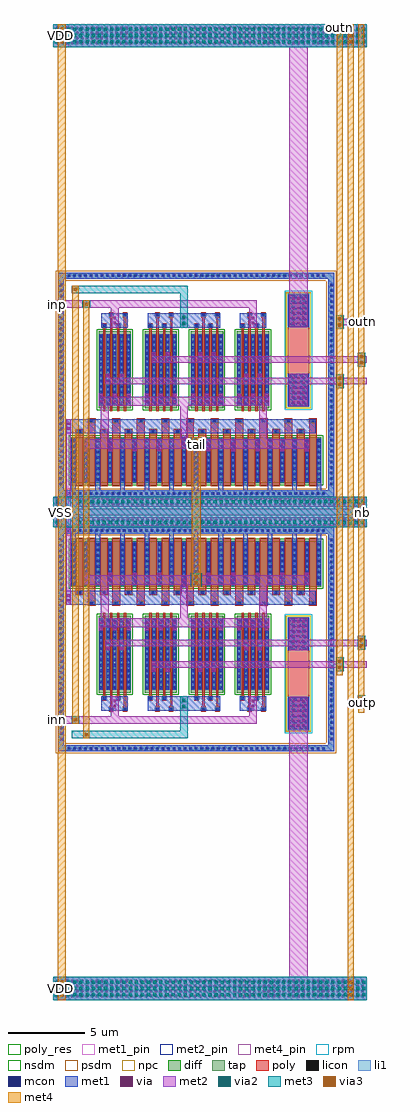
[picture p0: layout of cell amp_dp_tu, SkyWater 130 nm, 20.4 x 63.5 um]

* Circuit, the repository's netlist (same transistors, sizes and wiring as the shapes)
* amp_dp_tu: amp_dp_t with taps edge
* amp_dp_t: xschem/amp_dp.sch with {'w': 80, 'l': 0.15, 'rl': 1000.0, 'wt': 6, 'mt': 20, 'mm': 0} (lay.write_ref)
** sch_path: /foss/designs/ook-asic-radio-tall-stages/xschem/amp_dp.sch
.subckt amp_dp_tu inp inn nb outp outn VDD VSS
*.PININFO VDD:B VSS:B nb:B inp:B inn:B outp:B outn:B
XRl_p outn VDD VSS sky130_fd_pr__res_high_po_1p41 L=3.13504 mult=1
XMp outn inp tail VSS sky130_fd_pr__nfet_01v8 L=0.15 W=80 nf=4
XRl_n outp VDD VSS sky130_fd_pr__res_high_po_1p41 L=3.13504 mult=1
XMn outp inn tail VSS sky130_fd_pr__nfet_01v8 L=0.15 W=80 nf=4
XMtail tail nb VSS VSS sky130_fd_pr__nfet_01v8 L=0.5 W=6 nf=2 m=20
.ends

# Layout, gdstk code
import gdstk
lib = gdstk.Library(unit=1e-6, precision=1e-09)
def R(c, l, rs):  # rectangles x0, y0, x1, y1
    for r in rs: c.add(gdstk.rectangle(r[:2], r[2:], *l))
def A(c, l, x, y, w, h, nx, ny, dx, dy):  # array of equal rectangles
    R(c, l, [(x+i*dx, y+j*dy, x+i*dx+w, y+j*dy+h) for i in range(nx) for j in range(ny)])
def P(c, l, *ps):  # polygons
    for p in ps: c.add(gdstk.Polygon(p, *l))
diff = (65, 20)
tap = (65, 44)
poly_res = (66, 13)
poly = (66, 20)
licon = (66, 44)
li1 = (67, 20)
mcon = (67, 44)
met1_pin = (68, 16)
met1 = (68, 20)
via = (68, 44)
met2_pin = (69, 16)
met2 = (69, 20)
via2 = (69, 44)
met3 = (70, 20)
via3 = (70, 44)
met4_pin = (71, 16)
met4 = (71, 20)
rpm = (86, 20)
nsdm = (93, 44)
psdm = (94, 20)
npc = (95, 20)

amp_dp_tu = lib.new_cell('amp_dp_tu')
A(amp_dp_tu, diff, 2.95, 20, 2.1, 5, 4, 2, 3, 18.5)
R(amp_dp_tu, diff, [(1.15,26.88,17.45,29.88), (1.15,33.62,17.45,36.62)])
P(amp_dp_tu, tap, [(0.3,32.75),(0.3,46.93),(0.7,46.93),(0.7,33.15),(17.9,33.15),(17.9,46.93),(0.3,46.93),(0.3,47.33),(18.3,47.33),(18.3,32.75)],
  [(0.3,16.17),(0.3,30.35),(0.7,30.35),(0.7,16.57),(17.9,16.57),(17.9,30.35),(0.3,30.35),(0.3,30.75),(18.3,30.75),(18.3,16.17)])
R(amp_dp_tu, poly_res, [(15.25,19.665,16.66,22.805), (15.25,40.695,16.66,43.835)])
A(amp_dp_tu, poly, 2.25, 25.65, 0.5, 0.33, 10, 2, 1.6, 11.87)
A(amp_dp_tu, poly, 2.25, 25.98, 0.5, 4.1, 10, 2, 1.6, 7.44)
A(amp_dp_tu, poly, 1.45, 26.35, 0.5, 0.33, 10, 2, 1.6, 10.47)
A(amp_dp_tu, poly, 1.45, 26.68, 0.5, 3.4, 10, 2, 1.6, 6.74)
R(amp_dp_tu, poly, [(15.25,17.565,16.66,24.905), (3.64,18.77,3.91,19.1), (4.54,18.77,4.81,19.1), (6.64,18.77,6.91,19.1), (7.54,18.77,7.81,19.1), (9.64,18.77,9.91,19.1), (10.54,18.77,10.81,19.1), (12.64,18.77,12.91,19.1), (13.54,18.77,13.81,19.1), (3.7,19.1,3.85,25.2), (4.6,19.1,4.75,25.2), (6.7,19.1,6.85,25.2), (7.6,19.1,7.75,25.2), (9.7,19.1,9.85,25.2), (10.6,19.1,10.75,25.2), (12.7,19.1,12.85,25.2), (13.6,19.1,13.75,25.2), (3.19,19.47,3.46,19.8), (4.09,19.47,4.36,19.8), (6.19,19.47,6.46,19.8), (7.09,19.47,7.36,19.8), (9.19,19.47,9.46,19.8), (10.09,19.47,10.36,19.8), (12.19,19.47,12.46,19.8), (13.09,19.47,13.36,19.8), (3.25,19.8,3.4,25.2), (4.15,19.8,4.3,25.2), (6.25,19.8,6.4,25.2), (7.15,19.8,7.3,25.2), (9.25,19.8,9.4,25.2), (10.15,19.8,10.3,25.2), (12.25,19.8,12.4,25.2), (13.15,19.8,13.3,25.2), (3.25,38.3,3.4,43.7), (3.7,38.3,3.85,44.4), (4.15,38.3,4.3,43.7), (4.6,38.3,4.75,44.4), (6.25,38.3,6.4,43.7), (6.7,38.3,6.85,44.4), (7.15,38.3,7.3,43.7), (7.6,38.3,7.75,44.4), (9.25,38.3,9.4,43.7), (9.7,38.3,9.85,44.4), (10.15,38.3,10.3,43.7), (10.6,38.3,10.75,44.4), (12.25,38.3,12.4,43.7), (12.7,38.3,12.85,44.4), (13.15,38.3,13.3,43.7), (13.6,38.3,13.75,44.4), (15.25,38.595,16.66,45.935), (3.19,43.7,3.46,44.03), (4.09,43.7,4.36,44.03), (6.19,43.7,6.46,44.03), (7.09,43.7,7.36,44.03), (9.19,43.7,9.46,44.03), (10.09,43.7,10.36,44.03), (12.19,43.7,12.46,44.03), (13.09,43.7,13.36,44.03), (3.64,44.4,3.91,44.73), (4.54,44.4,4.81,44.73), (6.64,44.4,6.91,44.73), (7.54,44.4,7.81,44.73), (9.64,44.4,9.91,44.73), (10.54,44.4,10.81,44.73), (12.64,44.4,12.91,44.73), (13.54,44.4,13.81,44.73)])
A(amp_dp_tu, licon, 0.935, 16.285, 0.17, 0.17, 47, 2, 0.36, 14.18)
A(amp_dp_tu, licon, 0.415, 16.895, 0.17, 0.17, 1, 37, 0, 0.36)
A(amp_dp_tu, licon, 18.015, 16.895, 0.17, 0.17, 1, 37, 0, 0.36)
A(amp_dp_tu, licon, 3.015, 20.255, 0.17, 0.17, 5, 13, 0.45, 0.36)
A(amp_dp_tu, licon, 6.015, 20.255, 0.17, 0.17, 5, 13, 0.45, 0.36)
A(amp_dp_tu, licon, 9.015, 20.255, 0.17, 0.17, 5, 13, 0.45, 0.36)
A(amp_dp_tu, licon, 12.015, 20.255, 0.17, 0.17, 5, 13, 0.45, 0.36)
A(amp_dp_tu, licon, 2.415, 25.73, 0.17, 0.17, 10, 2, 1.6, 11.87)
A(amp_dp_tu, licon, 1.615, 26.43, 0.17, 0.17, 10, 2, 1.6, 10.47)
A(amp_dp_tu, licon, 1.215, 27.035, 0.17, 0.17, 21, 8, 0.8, 0.36)
A(amp_dp_tu, licon, 0.935, 32.865, 0.17, 0.17, 47, 2, 0.36, 14.18)
A(amp_dp_tu, licon, 0.415, 33.475, 0.17, 0.17, 1, 37, 0, 0.36)
A(amp_dp_tu, licon, 18.015, 33.475, 0.17, 0.17, 1, 37, 0, 0.36)
A(amp_dp_tu, licon, 1.215, 33.775, 0.17, 0.17, 21, 8, 0.8, 0.36)
A(amp_dp_tu, licon, 3.015, 38.755, 0.17, 0.17, 5, 13, 0.45, 0.36)
A(amp_dp_tu, licon, 6.015, 38.755, 0.17, 0.17, 5, 13, 0.45, 0.36)
A(amp_dp_tu, licon, 9.015, 38.755, 0.17, 0.17, 5, 13, 0.45, 0.36)
A(amp_dp_tu, licon, 12.015, 38.755, 0.17, 0.17, 5, 13, 0.45, 0.36)
R(amp_dp_tu, licon, [(15.505,17.645,15.695,19.645), (16.215,17.645,16.405,19.645), (3.69,18.85,3.86,19.02), (4.59,18.85,4.76,19.02), (6.69,18.85,6.86,19.02), (7.59,18.85,7.76,19.02), (9.69,18.85,9.86,19.02), (10.59,18.85,10.76,19.02), (12.69,18.85,12.86,19.02), (13.59,18.85,13.76,19.02), (3.24,19.55,3.41,19.72), (4.14,19.55,4.31,19.72), (6.24,19.55,6.41,19.72), (7.14,19.55,7.31,19.72), (9.24,19.55,9.41,19.72), (10.14,19.55,10.31,19.72), (12.24,19.55,12.41,19.72), (13.14,19.55,13.31,19.72), (15.505,22.825,15.695,24.825), (16.215,22.825,16.405,24.825), (15.505,38.675,15.695,40.675), (16.215,38.675,16.405,40.675), (3.24,43.78,3.41,43.95), (4.14,43.78,4.31,43.95), (6.24,43.78,6.41,43.95), (7.14,43.78,7.31,43.95), (9.24,43.78,9.41,43.95), (10.14,43.78,10.31,43.95), (12.24,43.78,12.41,43.95), (13.14,43.78,13.31,43.95), (15.505,43.855,15.695,45.855), (16.215,43.855,16.405,45.855), (3.69,44.48,3.86,44.65), (4.59,44.48,4.76,44.65), (6.69,44.48,6.86,44.65), (7.59,44.48,7.76,44.65), (9.69,44.48,9.86,44.65), (10.59,44.48,10.76,44.65), (12.69,44.48,12.86,44.65), (13.59,44.48,13.76,44.65)])
A(amp_dp_tu, li1, 3.015, 20.175, 0.17, 4.65, 5, 2, 0.45, 18.5)
A(amp_dp_tu, li1, 6.015, 20.175, 0.17, 4.65, 5, 2, 0.45, 18.5)
A(amp_dp_tu, li1, 9.015, 20.175, 0.17, 4.65, 5, 2, 0.45, 18.5)
A(amp_dp_tu, li1, 12.015, 20.175, 0.17, 4.65, 5, 2, 0.45, 18.5)
A(amp_dp_tu, li1, 2.335, 25.73, 0.33, 0.17, 10, 2, 1.6, 11.87)
A(amp_dp_tu, li1, 1.535, 26.43, 0.33, 0.17, 10, 2, 1.6, 10.47)
A(amp_dp_tu, li1, 1.215, 26.955, 0.17, 2.85, 21, 2, 0.8, 6.74)
R(amp_dp_tu, li1, [(15.25,17.565,16.66,19.725), (3.61,18.85,3.94,19.02), (4.51,18.85,4.84,19.02), (6.61,18.85,6.94,19.02), (7.51,18.85,7.84,19.02), (9.61,18.85,9.94,19.02), (10.51,18.85,10.84,19.02), (12.61,18.85,12.94,19.02), (13.51,18.85,13.84,19.02), (3.16,19.55,3.49,19.72), (4.06,19.55,4.39,19.72), (6.16,19.55,6.49,19.72), (7.06,19.55,7.39,19.72), (9.16,19.55,9.49,19.72), (10.06,19.55,10.39,19.72), (12.16,19.55,12.49,19.72), (13.06,19.55,13.39,19.72), (15.25,22.745,16.66,24.905), (15.25,38.595,16.66,40.755), (15.25,43.775,16.66,45.935), (3.16,43.78,3.49,43.95), (4.06,43.78,4.39,43.95), (6.16,43.78,6.49,43.95), (7.06,43.78,7.39,43.95), (9.16,43.78,9.49,43.95), (10.06,43.78,10.39,43.95), (12.16,43.78,12.49,43.95), (13.06,43.78,13.39,43.95), (3.61,44.48,3.94,44.65), (4.51,44.48,4.84,44.65), (6.61,44.48,6.94,44.65), (7.51,44.48,7.84,44.65), (9.61,44.48,9.94,44.65), (10.51,44.48,10.84,44.65), (12.61,44.48,12.94,44.65), (13.51,44.48,13.84,44.65)])
P(amp_dp_tu, li1, [(0.3,32.75),(0.3,46.93),(0.7,46.93),(0.7,33.15),(17.9,33.15),(17.9,46.93),(0.3,46.93),(0.3,47.33),(18.3,47.33),(18.3,32.75)],
  [(0.3,16.17),(0.3,30.35),(0.7,30.35),(0.7,16.57),(17.9,16.57),(17.9,30.35),(0.3,30.35),(0.3,30.75),(18.3,30.75),(18.3,16.17)])
A(amp_dp_tu, mcon, 0.935, 16.285, 0.17, 0.17, 47, 2, 0.36, 14.18)
A(amp_dp_tu, mcon, 0.415, 16.895, 0.17, 0.17, 1, 37, 0, 0.36)
A(amp_dp_tu, mcon, 18.015, 16.895, 0.17, 0.17, 1, 37, 0, 0.36)
A(amp_dp_tu, mcon, 15.33, 17.66, 0.17, 0.17, 4, 6, 0.36, 0.36)
A(amp_dp_tu, mcon, 3.015, 20.255, 0.17, 0.17, 5, 13, 0.45, 0.36)
A(amp_dp_tu, mcon, 6.015, 20.255, 0.17, 0.17, 5, 13, 0.45, 0.36)
A(amp_dp_tu, mcon, 9.015, 20.255, 0.17, 0.17, 5, 13, 0.45, 0.36)
A(amp_dp_tu, mcon, 12.015, 20.255, 0.17, 0.17, 5, 13, 0.45, 0.36)
A(amp_dp_tu, mcon, 15.33, 22.835, 0.17, 0.17, 4, 6, 0.36, 0.36)
A(amp_dp_tu, mcon, 2.415, 25.73, 0.17, 0.17, 10, 2, 1.6, 11.87)
A(amp_dp_tu, mcon, 1.615, 26.43, 0.17, 0.17, 10, 2, 1.6, 10.47)
A(amp_dp_tu, mcon, 1.215, 27.035, 0.17, 0.17, 21, 8, 0.8, 0.36)
A(amp_dp_tu, mcon, 0.935, 32.865, 0.17, 0.17, 47, 2, 0.36, 14.18)
A(amp_dp_tu, mcon, 0.415, 33.475, 0.17, 0.17, 1, 37, 0, 0.36)
A(amp_dp_tu, mcon, 18.015, 33.475, 0.17, 0.17, 1, 37, 0, 0.36)
A(amp_dp_tu, mcon, 1.215, 33.775, 0.17, 0.17, 21, 8, 0.8, 0.36)
A(amp_dp_tu, mcon, 15.33, 38.695, 0.17, 0.17, 4, 6, 0.36, 0.36)
A(amp_dp_tu, mcon, 3.015, 38.755, 0.17, 0.17, 5, 13, 0.45, 0.36)
A(amp_dp_tu, mcon, 6.015, 38.755, 0.17, 0.17, 5, 13, 0.45, 0.36)
A(amp_dp_tu, mcon, 9.015, 38.755, 0.17, 0.17, 5, 13, 0.45, 0.36)
A(amp_dp_tu, mcon, 12.015, 38.755, 0.17, 0.17, 5, 13, 0.45, 0.36)
A(amp_dp_tu, mcon, 15.33, 43.87, 0.17, 0.17, 4, 6, 0.36, 0.36)
R(amp_dp_tu, mcon, [(3.69,18.85,3.86,19.02), (4.59,18.85,4.76,19.02), (6.69,18.85,6.86,19.02), (7.59,18.85,7.76,19.02), (9.69,18.85,9.86,19.02), (10.59,18.85,10.76,19.02), (12.69,18.85,12.86,19.02), (13.59,18.85,13.76,19.02), (3.24,19.55,3.41,19.72), (4.14,19.55,4.31,19.72), (6.24,19.55,6.41,19.72), (7.14,19.55,7.31,19.72), (9.24,19.55,9.41,19.72), (10.14,19.55,10.31,19.72), (12.24,19.55,12.41,19.72), (13.14,19.55,13.31,19.72), (3.24,43.78,3.41,43.95), (4.14,43.78,4.31,43.95), (6.24,43.78,6.41,43.95), (7.14,43.78,7.31,43.95), (9.24,43.78,9.41,43.95), (10.14,43.78,10.31,43.95), (12.24,43.78,12.41,43.95), (13.14,43.78,13.31,43.95), (3.69,44.48,3.86,44.65), (4.59,44.48,4.76,44.65), (6.69,44.48,6.86,44.65), (7.59,44.48,7.76,44.65), (9.69,44.48,9.86,44.65), (10.59,44.48,10.76,44.65), (12.69,44.48,12.86,44.65), (13.59,44.48,13.76,44.65)])
R(amp_dp_tu, met1_pin, [(0,0,1,1.5), (0,30.75,1,32.75), (0,62,1,63.5)])
A(amp_dp_tu, met1, 3.59, 18.82, 0.37, 0.23, 4, 2, 3, 25.63)
A(amp_dp_tu, met1, 4.49, 18.82, 0.365, 0.23, 4, 2, 3, 25.63)
A(amp_dp_tu, met1, 3.14, 19.52, 0.37, 0.23, 4, 2, 3, 24.23)
A(amp_dp_tu, met1, 4.04, 19.52, 0.365, 0.23, 4, 2, 3, 24.23)
A(amp_dp_tu, met1, 2.985, 20.195, 0.23, 4.61, 5, 2, 0.45, 18.5)
A(amp_dp_tu, met1, 5.985, 20.195, 0.23, 4.61, 5, 2, 0.45, 18.5)
A(amp_dp_tu, met1, 8.985, 20.195, 0.23, 4.61, 5, 2, 0.45, 18.5)
A(amp_dp_tu, met1, 11.985, 20.195, 0.23, 4.61, 5, 2, 0.45, 18.5)
A(amp_dp_tu, met1, 2.97, 24.07, 0.26, 0.64, 3, 2, 0.9, 14.72)
A(amp_dp_tu, met1, 5.97, 24.07, 0.26, 0.64, 3, 2, 0.9, 14.72)
A(amp_dp_tu, met1, 8.97, 24.07, 0.26, 0.64, 3, 2, 0.9, 14.72)
A(amp_dp_tu, met1, 11.97, 24.07, 0.26, 0.64, 3, 2, 0.9, 14.72)
A(amp_dp_tu, met1, 2.95, 24.25, 0.3, 0.6, 3, 2, 0.9, 14.4)
A(amp_dp_tu, met1, 5.95, 24.25, 0.3, 0.6, 3, 2, 0.9, 14.4)
A(amp_dp_tu, met1, 8.95, 24.25, 0.3, 0.6, 3, 2, 0.9, 14.4)
A(amp_dp_tu, met1, 11.95, 24.25, 0.3, 0.6, 3, 2, 0.9, 14.4)
A(amp_dp_tu, met1, 2.315, 25.7, 0.37, 0.23, 10, 2, 1.6, 11.87)
A(amp_dp_tu, met1, 1.515, 26.4, 0.37, 0.23, 10, 2, 1.6, 10.47)
A(amp_dp_tu, met1, 1.15, 26.975, 0.3, 3.385, 11, 2, 1.6, 6.165)
A(amp_dp_tu, met1, 1.185, 26.975, 0.23, 2.81, 21, 2, 0.8, 6.74)
A(amp_dp_tu, met1, 1.95, 27.03, 0.3, 0.6, 10, 2, 1.6, 8.84)
A(amp_dp_tu, met1, 1.97, 27.17, 0.26, 0.64, 4, 2, 1.6, 8.52)
A(amp_dp_tu, met1, 9.97, 27.17, 0.26, 0.64, 5, 2, 1.6, 8.52)
R(amp_dp_tu, met1, [(0,0,20.4,1.5), (15.3,17.6,16.61,19.7), (15.355,17.6,16.555,19.7), (3.14,18.82,4.855,19.75), (6.14,18.82,10.855,19.75), (12.14,18.82,13.855,19.75), (6.42,21.36,6.68,22), (7.32,21.36,7.58,22), (9.42,21.36,9.68,22), (10.32,21.36,10.58,22), (6.4,21.63,6.7,22.05), (7.3,21.63,7.6,22.05), (9.4,21.63,9.7,22.05), (10.3,21.63,10.6,22.05), (3.42,22.76,3.68,23.4), (4.32,22.76,4.58,23.4), (12.42,22.76,12.68,23.4), (13.32,22.76,13.58,23.4), (15.3,22.77,16.61,24.87), (15.355,22.77,16.555,24.87), (3.4,23.03,3.7,23.45), (4.3,23.03,4.6,23.45), (12.4,23.03,12.7,23.45), (13.3,23.03,13.6,23.45), (0.85,25.7,17.085,26.63), (8.37,26.85,8.63,27.49), (0,30.75,20.4,32.75), (8.37,36.01,8.63,36.65), (0.85,36.87,17.085,37.8), (15.3,38.63,16.61,40.73), (15.355,38.63,16.555,40.73), (3.4,40.05,3.7,40.47), (4.3,40.05,4.6,40.47), (12.4,40.05,12.7,40.47), (13.3,40.05,13.6,40.47), (3.42,40.1,3.68,40.74), (4.32,40.1,4.58,40.74), (12.42,40.1,12.68,40.74), (13.32,40.1,13.58,40.74), (6.4,41.45,6.7,41.87), (7.3,41.45,7.6,41.87), (9.4,41.45,9.7,41.87), (10.3,41.45,10.6,41.87), (6.42,41.5,6.68,42.14), (7.32,41.5,7.58,42.14), (9.42,41.5,9.68,42.14), (10.32,41.5,10.58,42.14), (3.14,43.75,4.855,44.68), (6.14,43.75,10.855,44.68), (12.14,43.75,13.855,44.68), (15.3,43.8,16.61,45.9), (15.355,43.8,16.555,45.9), (0,62,20.4,63.5)])
P(amp_dp_tu, met1, [(0.3,32.75),(0.3,46.93),(0.7,46.93),(0.7,33.15),(17.9,33.15),(17.9,46.93),(0.3,46.93),(0.3,47.33),(18.3,47.33),(18.3,32.75)],
  [(0.3,16.17),(0.3,30.35),(0.7,30.35),(0.7,16.57),(17.9,16.57),(17.9,30.35),(0.3,30.35),(0.3,30.75),(18.3,30.75),(18.3,16.17)])
A(amp_dp_tu, via, 0.205, 0.195, 0.15, 0.15, 63, 4, 0.32, 0.32)
A(amp_dp_tu, via, 15.56, 17.775, 0.15, 0.15, 3, 6, 0.32, 0.32)
A(amp_dp_tu, via, 3.925, 19.05, 0.15, 0.15, 3, 2, 4.5, 0.32)
A(amp_dp_tu, via, 15.56, 22.945, 0.15, 0.15, 3, 6, 0.32, 0.32)
A(amp_dp_tu, via, 3.025, 24.155, 0.15, 0.15, 3, 2, 0.9, 0.32)
A(amp_dp_tu, via, 6.025, 24.155, 0.15, 0.15, 3, 2, 0.9, 0.32)
A(amp_dp_tu, via, 9.025, 24.155, 0.15, 0.15, 3, 2, 0.9, 0.32)
A(amp_dp_tu, via, 12.025, 24.155, 0.15, 0.15, 3, 2, 0.9, 0.32)
A(amp_dp_tu, via, 2.025, 27.255, 0.15, 0.15, 10, 2, 1.6, 8.84)
A(amp_dp_tu, via, 2.025, 27.575, 0.15, 0.15, 4, 2, 1.6, 8.2)
A(amp_dp_tu, via, 10.025, 27.575, 0.15, 0.15, 5, 2, 1.6, 8.2)
A(amp_dp_tu, via, 1.57, 30.845, 0.15, 0.15, 59, 2, 0.32, 0.32)
A(amp_dp_tu, via, 1.57, 32.185, 0.15, 0.15, 59, 2, 0.32, 0.32)
A(amp_dp_tu, via, 15.56, 38.805, 0.15, 0.15, 3, 6, 0.32, 0.32)
A(amp_dp_tu, via, 3.025, 38.875, 0.15, 0.15, 3, 2, 0.9, 0.32)
A(amp_dp_tu, via, 6.025, 38.875, 0.15, 0.15, 3, 2, 0.9, 0.32)
A(amp_dp_tu, via, 9.025, 38.875, 0.15, 0.15, 3, 2, 0.9, 0.32)
A(amp_dp_tu, via, 12.025, 38.875, 0.15, 0.15, 3, 2, 0.9, 0.32)
A(amp_dp_tu, via, 15.56, 43.975, 0.15, 0.15, 3, 6, 0.32, 0.32)
A(amp_dp_tu, via, 3.925, 43.98, 0.15, 0.15, 3, 2, 4.5, 0.32)
A(amp_dp_tu, via, 0.205, 62.195, 0.15, 0.15, 63, 4, 0.32, 0.32)
R(amp_dp_tu, via, [(6.475,21.445,6.625,21.595), (7.375,21.445,7.525,21.595), (9.475,21.445,9.625,21.595), (10.375,21.445,10.525,21.595), (6.475,21.765,6.625,21.915), (7.375,21.765,7.525,21.915), (9.475,21.765,9.625,21.915), (10.375,21.765,10.525,21.915), (3.475,22.845,3.625,22.995), (4.375,22.845,4.525,22.995), (12.475,22.845,12.625,22.995), (13.375,22.845,13.525,22.995), (3.475,23.165,3.625,23.315), (4.375,23.165,4.525,23.315), (12.475,23.165,12.625,23.315), (13.375,23.165,13.525,23.315), (0.925,25.93,1.075,26.08), (0.925,26.25,1.075,26.4), (8.425,26.935,8.575,27.085), (0.2,30.845,0.35,30.995), (0.2,31.165,0.35,31.315), (0.2,32.185,0.35,32.335), (0.2,32.505,0.35,32.655), (8.425,36.415,8.575,36.565), (0.925,37.1,1.075,37.25), (0.925,37.42,1.075,37.57), (3.475,40.185,3.625,40.335), (4.375,40.185,4.525,40.335), (12.475,40.185,12.625,40.335), (13.375,40.185,13.525,40.335), (3.475,40.505,3.625,40.655), (4.375,40.505,4.525,40.655), (12.475,40.505,12.625,40.655), (13.375,40.505,13.525,40.655), (6.475,41.585,6.625,41.735), (7.375,41.585,7.525,41.735), (9.475,41.585,9.625,41.735), (10.375,41.585,10.525,41.735), (6.475,41.905,6.625,42.055), (7.375,41.905,7.525,42.055), (9.475,41.905,9.625,42.055), (10.375,41.905,10.525,42.055)])
A(amp_dp_tu, met2_pin, 19.9, 19.185, 0.5, 0.4, 1, 3, 0, 12.365)
R(amp_dp_tu, met2_pin, [(0,17.97,0.5,18.47), (0,31.55,0.5,31.95), (0,45.03,0.5,45.53)])
A(amp_dp_tu, met2, 2.97, 24.07, 0.26, 0.64, 3, 2, 0.9, 14.72)
A(amp_dp_tu, met2, 5.97, 24.07, 0.26, 0.64, 3, 2, 0.9, 14.72)
A(amp_dp_tu, met2, 8.97, 24.07, 0.26, 0.64, 3, 2, 0.9, 14.72)
A(amp_dp_tu, met2, 11.97, 24.07, 0.26, 0.64, 3, 2, 0.9, 14.72)
A(amp_dp_tu, met2, 3.1, 24.25, 0.5, 3.38, 3, 2, 5.15, 11.62)
A(amp_dp_tu, met2, 1.97, 27.17, 0.26, 0.64, 4, 2, 1.6, 8.52)
A(amp_dp_tu, met2, 9.97, 27.17, 0.26, 0.64, 5, 2, 1.6, 8.52)
R(amp_dp_tu, met2, [(0,0,20.4,1.5), (15.355,1.49,16.555,19.7), (0,17.97,13.25,18.47), (1.2,17.97,1.7,18.47), (3.75,17.97,4.25,19.75), (12.75,17.97,13.25,19.75), (8.25,18.82,8.75,19.75), (19.8,18.935,20.3,19.835), (19.8,19.185,20.4,19.585), (6.42,21.36,6.68,22), (7.32,21.36,7.58,22), (9.42,21.36,9.68,22), (10.32,21.36,10.58,22), (18.4,21.39,18.9,22.29), (6.4,21.63,20.4,22.05), (3.42,22.76,3.68,23.4), (4.32,22.76,4.58,23.4), (12.42,22.76,12.68,23.4), (13.32,22.76,13.58,23.4), (15.355,22.77,16.555,24.87), (19.8,22.79,20.3,23.69), (3.4,23.03,20.4,23.45), (2.95,24.25,14.05,24.85), (0.85,25.7,1.15,31.75), (8.37,26.85,8.63,27.49), (8.95,26.88,9.65,27.78), (1.95,27.03,16.65,27.63), (0,30.75,0.55,31.41), (1.45,30.75,20.4,31.41), (0,31.55,20.4,31.95), (0.85,31.75,1.15,37.8), (0,32.09,0.55,32.75), (1.45,32.09,20.4,32.75), (8.95,35.72,9.65,36.62), (1.95,35.87,16.65,36.47), (8.37,36.01,8.63,36.65), (15.355,38.63,16.555,40.73), (2.95,38.65,14.05,39.25), (18.4,39.81,18.9,40.71), (3.4,40.05,20.4,40.47), (3.42,40.1,3.68,40.74), (4.32,40.1,4.58,40.74), (12.42,40.1,12.68,40.74), (13.32,40.1,13.58,40.74), (19.8,41.21,20.3,42.11), (6.4,41.45,20.4,41.87), (6.42,41.5,6.68,42.14), (7.32,41.5,7.58,42.14), (9.42,41.5,9.68,42.14), (10.32,41.5,10.58,42.14), (18.4,43.665,18.9,44.565), (3.75,43.75,4.25,45.53), (8.25,43.75,8.75,44.68), (12.75,43.75,13.25,45.53), (15.355,43.8,16.555,62.01), (18.4,43.915,20.4,44.315), (0,45.03,13.25,45.53), (1.9,45.03,2.4,45.53), (0,62,20.4,63.5)])
A(amp_dp_tu, via2, 0.1, 0.25, 0.2, 0.2, 51, 3, 0.4, 0.4)
A(amp_dp_tu, via2, 1.625, 30.98, 0.2, 0.2, 47, 2, 0.4, 1.34)
A(amp_dp_tu, via2, 0.1, 62.25, 0.2, 0.2, 51, 3, 0.4, 0.4)
R(amp_dp_tu, via2, [(1.35,18.12,1.55,18.32), (8.4,18.985,8.6,19.185), (19.95,19.085,20.15,19.285), (8.4,19.385,8.6,19.585), (19.95,19.485,20.15,19.685), (18.55,21.54,18.75,21.74), (18.55,21.94,18.75,22.14), (19.95,22.94,20.15,23.14), (19.95,23.34,20.15,23.54), (9.2,27.03,9.4,27.23), (9.2,27.43,9.4,27.63), (0.175,30.98,0.375,31.18), (0.175,32.32,0.375,32.52), (9.2,35.87,9.4,36.07), (9.2,36.27,9.4,36.47), (18.55,39.96,18.75,40.16), (18.55,40.36,18.75,40.56), (19.95,41.36,20.15,41.56), (19.95,41.76,20.15,41.96), (18.55,43.815,18.75,44.015), (8.4,43.915,8.6,44.115), (18.55,44.215,18.75,44.415), (8.4,44.315,8.6,44.515), (2.05,45.18,2.25,45.38)])
R(amp_dp_tu, met3, [(0,0,20.4,1.5), (1.2,17.02,8.75,17.52), (1.9,17.02,2.4,17.52), (8.25,17.02,8.75,19.75), (1.2,17.97,1.7,18.47), (19.8,18.935,20.3,19.835), (18.4,21.39,18.9,22.29), (19.8,22.79,20.3,23.69), (8.95,26.88,9.65,27.78), (0,30.75,20.4,32.75), (8.95,35.72,9.65,36.62), (18.4,39.81,18.9,40.71), (19.8,41.21,20.3,42.11), (18.4,43.665,18.9,44.565), (8.25,43.75,8.75,46.48), (1.9,45.03,2.4,45.53), (1.2,45.98,1.7,46.48), (1.2,45.98,8.75,46.48), (0,62,20.4,63.5)])
A(amp_dp_tu, via3, 0.45, 0.25, 0.2, 0.2, 1, 3, 0, 0.4)
A(amp_dp_tu, via3, 19.25, 0.25, 0.2, 0.2, 1, 3, 0, 0.4)
A(amp_dp_tu, via3, 0.45, 62.25, 0.2, 0.2, 1, 3, 0, 0.4)
A(amp_dp_tu, via3, 19.25, 62.25, 0.2, 0.2, 1, 3, 0, 0.4)
R(amp_dp_tu, via3, [(2.05,17.17,2.25,17.37), (1.35,18.12,1.55,18.32), (19.95,19.085,20.15,19.285), (19.95,19.485,20.15,19.685), (18.55,21.54,18.75,21.74), (18.55,21.94,18.75,22.14), (19.95,22.94,20.15,23.14), (19.95,23.34,20.15,23.54), (9.2,27.03,9.4,27.23), (9.2,27.43,9.4,27.63), (9.2,35.87,9.4,36.07), (9.2,36.27,9.4,36.47), (18.55,39.96,18.75,40.16), (18.55,40.36,18.75,40.56), (19.95,41.36,20.15,41.56), (19.95,41.76,20.15,41.96), (18.55,43.815,18.75,44.015), (18.55,44.215,18.75,44.415), (2.05,45.18,2.25,45.38), (1.35,46.13,1.55,46.33)])
R(amp_dp_tu, met4_pin, [(18.45,63,18.85,63.5), (19.85,63,20.25,63.5)])
R(amp_dp_tu, met4, [(0.3,0,0.8,63.5), (19.15,0,19.55,63.5), (1.95,17.02,2.35,45.53), (1.25,17.97,1.65,46.48), (19.85,18.685,20.25,63.5), (18.45,21.13,18.85,63.5), (9,26.88,9.6,36.62)])
R(amp_dp_tu, rpm, [(15.05,17.37,16.86,25.1), (15.05,38.4,16.86,46.13)])
A(amp_dp_tu, nsdm, 2.825, 19.875, 2.35, 5.25, 4, 2, 3, 18.5)
R(amp_dp_tu, nsdm, [(1.025,26.755,17.575,30.005), (1.025,33.495,17.575,36.745)])
R(amp_dp_tu, psdm, [(15.14,17.455,16.77,25.015), (15.14,38.485,16.77,46.045)])
P(amp_dp_tu, psdm, [(0.175,32.625),(0.175,46.805),(0.825,46.805),(0.825,33.275),(17.775,33.275),(17.775,46.805),(0.175,46.805),(0.175,47.455),(18.425,47.455),(18.425,32.625)],
  [(0.175,16.045),(0.175,30.225),(0.825,30.225),(0.825,16.695),(17.775,16.695),(17.775,30.225),(0.175,30.225),(0.175,30.875),(18.425,30.875),(18.425,16.045)])
A(amp_dp_tu, npc, 2.24, 25.64, 0.52, 0.35, 10, 2, 1.6, 11.87)
A(amp_dp_tu, npc, 1.44, 26.34, 0.52, 0.35, 10, 2, 1.6, 10.47)
R(amp_dp_tu, npc, [(15.155,17.475,16.755,24.995), (3.63,18.76,3.92,19.11), (4.53,18.76,4.82,19.11), (6.63,18.76,6.92,19.11), (7.53,18.76,7.82,19.11), (9.63,18.76,9.92,19.11), (10.53,18.76,10.82,19.11), (12.63,18.76,12.92,19.11), (13.53,18.76,13.82,19.11), (3.18,19.46,3.47,19.81), (4.08,19.46,4.37,19.81), (6.18,19.46,6.47,19.81), (7.08,19.46,7.37,19.81), (9.18,19.46,9.47,19.81), (10.08,19.46,10.37,19.81), (12.18,19.46,12.47,19.81), (13.08,19.46,13.37,19.81), (15.155,38.505,16.755,46.025), (3.18,43.69,3.47,44.04), (4.08,43.69,4.37,44.04), (6.18,43.69,6.47,44.04), (7.08,43.69,7.37,44.04), (9.18,43.69,9.47,44.04), (10.08,43.69,10.37,44.04), (12.18,43.69,12.47,44.04), (13.08,43.69,13.37,44.04), (3.63,44.39,3.92,44.74), (4.53,44.39,4.82,44.74), (6.63,44.39,6.92,44.74), (7.53,44.39,7.82,44.74), (9.63,44.39,9.92,44.74), (10.53,44.39,10.82,44.74), (12.63,44.39,12.92,44.74), (13.53,44.39,13.82,44.74)])
amp_dp_tu.add(gdstk.Label('VSS', (0.5,31.75), layer=68, texttype=5))
amp_dp_tu.add(gdstk.Label('VDD', (0.5,62.75), layer=68, texttype=5))
amp_dp_tu.add(gdstk.Label('VDD', (0.5,0.75), layer=68, texttype=5))
amp_dp_tu.add(gdstk.Label('nb', (0.25,31.75), layer=69, texttype=5))
amp_dp_tu.add(gdstk.Label('nb', (20.15,31.75), layer=69, texttype=5))
amp_dp_tu.add(gdstk.Label('outn', (20.15,44.115), layer=69, texttype=5))
amp_dp_tu.add(gdstk.Label('outp', (20.15,19.385), layer=69, texttype=5))
amp_dp_tu.add(gdstk.Label('inp', (0.25,45.28), layer=69, texttype=5))
amp_dp_tu.add(gdstk.Label('inn', (0.25,18.22), layer=69, texttype=5))
amp_dp_tu.add(gdstk.Label('tail', (9.3,36.17), layer=69, texttype=5))
amp_dp_tu.add(gdstk.Label('outn', (18.65,63.25), layer=71, texttype=5))
amp_dp_tu.add(gdstk.Label('outp', (20.05,63.25), layer=71, texttype=5))

lib.write_gds('amp_dp_tu.gds')
